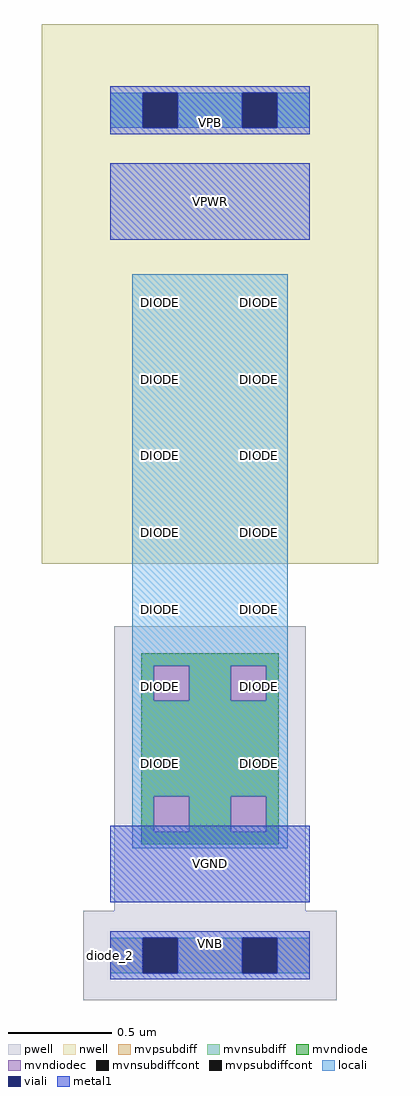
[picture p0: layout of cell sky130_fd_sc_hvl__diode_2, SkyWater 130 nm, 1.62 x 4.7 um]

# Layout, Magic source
magic
tech sky130A
magscale 1 2
<< nwell >>
rect -66 377 258 897
<< pwell >>
rect 4 43 188 317
rect -26 -43 218 43
<< mvpsubdiff >>
rect 0 -17 31 17
rect 65 -17 127 17
rect 161 -17 192 17
<< mvnsubdiff >>
rect 0 797 31 831
rect 65 797 127 831
rect 161 797 192 831
<< mvpsubdiffcont >>
rect 31 -17 65 17
rect 127 -17 161 17
<< mvnsubdiffcont >>
rect 31 797 65 831
rect 127 797 161 831
<< mvndiode >>
rect 30 279 162 291
rect 30 245 42 279
rect 76 245 116 279
rect 150 245 162 279
rect 30 153 162 245
rect 30 119 42 153
rect 76 119 116 153
rect 150 119 162 153
rect 30 107 162 119
<< mvndiodec >>
rect 42 245 76 279
rect 116 245 150 279
rect 42 119 76 153
rect 116 119 150 153
<< locali >>
rect 0 797 31 831
rect 65 797 127 831
rect 161 797 192 831
rect 21 279 171 656
rect 21 245 42 279
rect 76 245 116 279
rect 150 245 171 279
rect 21 153 171 245
rect 21 119 42 153
rect 76 119 116 153
rect 150 119 171 153
rect 21 103 171 119
rect 0 -17 31 17
rect 65 -17 127 17
rect 161 -17 192 17
<< viali >>
rect 31 797 65 831
rect 127 797 161 831
rect 31 -17 65 17
rect 127 -17 161 17
<< metal1 >>
rect 0 831 192 837
rect 0 797 31 831
rect 65 797 127 831
rect 161 797 192 831
rect 0 791 192 797
rect 0 689 192 763
rect 0 51 192 125
rect 0 17 192 23
rect 0 -17 31 17
rect 65 -17 127 17
rect 161 -17 192 17
rect 0 -23 192 -17
<< labels >>
flabel locali s 31 612 65 646 0 FreeSans 200 0 0 0 DIODE
port 1 nsew default input
flabel locali s 127 612 161 646 0 FreeSans 200 0 0 0 DIODE
port 1 nsew default input
flabel locali s 31 538 65 572 0 FreeSans 200 0 0 0 DIODE
port 1 nsew default input
flabel locali s 127 538 161 572 0 FreeSans 200 0 0 0 DIODE
port 1 nsew default input
flabel locali s 31 464 65 498 0 FreeSans 200 0 0 0 DIODE
port 1 nsew default input
flabel locali s 127 464 161 498 0 FreeSans 200 0 0 0 DIODE
port 1 nsew default input
flabel locali s 31 390 65 424 0 FreeSans 200 0 0 0 DIODE
port 1 nsew default input
flabel locali s 127 390 161 424 0 FreeSans 200 0 0 0 DIODE
port 1 nsew default input
flabel locali s 31 316 65 350 0 FreeSans 200 0 0 0 DIODE
port 1 nsew default input
flabel locali s 127 316 161 350 0 FreeSans 200 0 0 0 DIODE
port 1 nsew default input
flabel locali s 127 242 161 276 0 FreeSans 200 0 0 0 DIODE
port 1 nsew default input
flabel locali s 127 168 161 202 0 FreeSans 200 0 0 0 DIODE
port 1 nsew default input
flabel locali s 31 168 65 202 0 FreeSans 200 0 0 0 DIODE
port 1 nsew default input
flabel locali s 31 242 65 276 0 FreeSans 200 0 0 0 DIODE
port 1 nsew default input
rlabel comment s 0 0 0 0 4 diode_2
flabel metal1 s 0 51 192 125 0 FreeSans 340 0 0 0 VGND
port 2 nsew ground bidirectional
flabel metal1 s 0 0 192 23 0 FreeSans 340 0 0 0 VNB
port 3 nsew ground bidirectional
flabel metal1 s 96 11 96 11 0 FreeSans 340 0 0 0 VNB
flabel metal1 s 0 689 192 763 0 FreeSans 340 0 0 0 VPWR
port 5 nsew power bidirectional
flabel metal1 s 0 791 192 814 0 FreeSans 340 0 0 0 VPB
port 4 nsew power bidirectional
flabel metal1 s 96 802 96 802 0 FreeSans 340 0 0 0 VPB
<< properties >>
string FIXED_BBOX 0 0 192 814
string GDS_END 1159870
string GDS_FILE $PDKPATH/libs.ref/sky130_fd_sc_hvl/gds/sky130_fd_sc_hvl.gds
string GDS_START 1154836
string LEFclass CORE ANTENNACELL
string LEFsite unithv
string LEFsymmetry X Y
<< end >>
